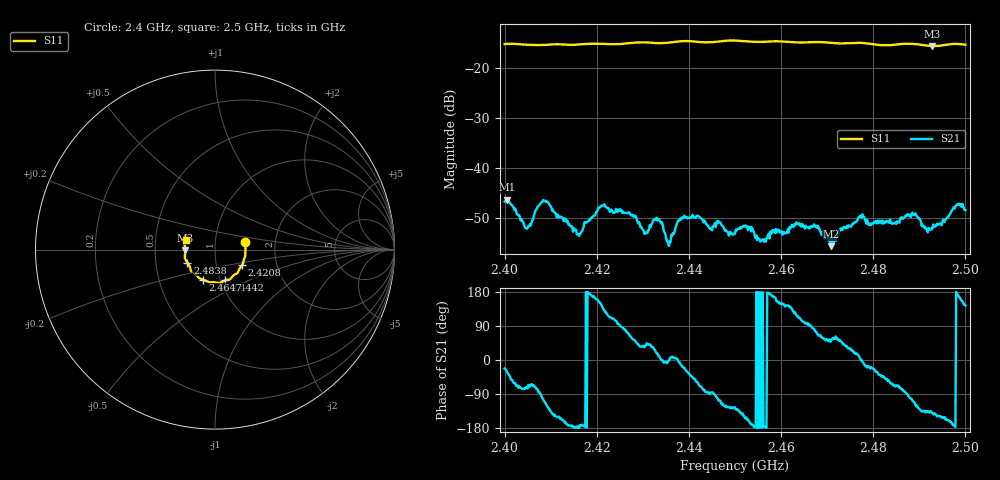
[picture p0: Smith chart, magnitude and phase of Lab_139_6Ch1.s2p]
# Hz S RI R 50
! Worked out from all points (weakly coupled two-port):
!   601 points, 2.4 GHz to 2.5 GHz, reference 50 ohm
!   highest |S21| = -46.39 dB at 2.4005 GHz (marker M1); lowest = -55.7 dB at 2.4708 GHz (marker M2)
!   lowest |S11| = -15.6 dB at 2.4928 GHz (marker M3), VSWR 1.40, Z = 35.8 - j0.347 ohm
!   |S11| at or under -10 dB: start of sweep to end of sweep
!   S12 and S22 are empty: the file has one direction only
!   S11 on the Smith chart (normalised r, x): 2.4 GHz: 1.40, +0.12; 2.4208 GHz: 1.33, -0.24; 2.4442 GHz: 1.05, -0.37; 2.4647 GHz: 0.83, -0.29; 2.4838 GHz: 0.73, -0.11; 2.5 GHz: 0.72, +0.08
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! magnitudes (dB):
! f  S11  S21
! 2.4 GHz  -15.2  -46.7
! 2.4005 GHz  -15.2  -46.4
! 2.4047 GHz  -15.4  -52.1
! 2.4088 GHz  -15.4  -46.6
! 2.4167 GHz  -15.3  -52.8
! 2.4208 GHz  -15.2  -47.8
! 2.4305 GHz  -14.9  -53.0
! 2.4333 GHz  -15.0  -50.5
! 2.4355 GHz  -15.0  -55.2
! 2.4388 GHz  -14.6  -50.0
! 2.4442 GHz  -14.9  -51.6
! 2.45 GHz  -14.5  -53.2
! 2.4562 GHz  -14.8  -54.5
! 2.4647 GHz  -14.9  -51.4
! 2.4667 GHz  -14.8  -51.7
! 2.4708 GHz  -15.0  -55.7
! 2.4773 GHz  -15.0  -49.5
! 2.4833 GHz  -15.5  -50.6
! 2.4838 GHz  -15.4  -51.0
! 2.4888 GHz  -15.2  -49.4
! 2.4928 GHz  -15.6  -52.2
! 2.5 GHz  -15.4  -48.5
